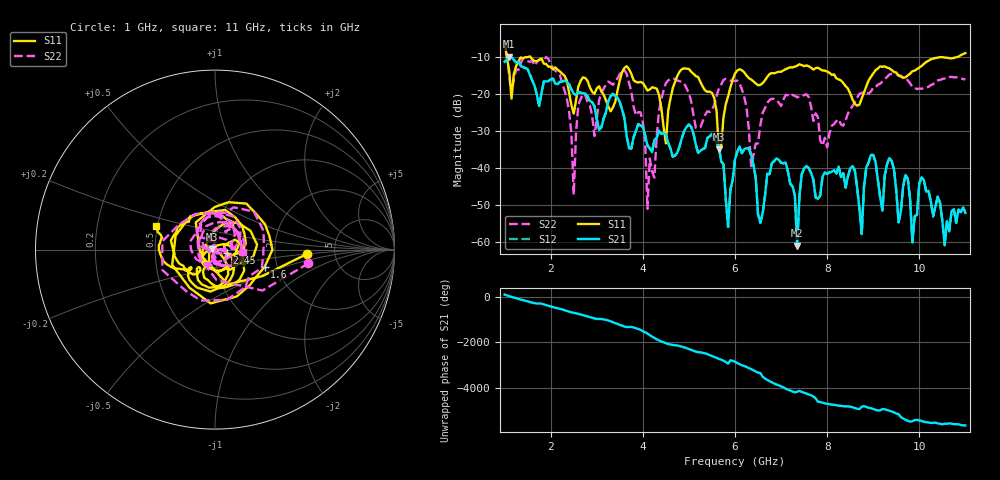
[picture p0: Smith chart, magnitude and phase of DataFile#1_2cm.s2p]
! MS46122B
! 1728301/71650013
! 6/21/2022 4:12:33 PM
! C:\USERS\MILLIWAVE\DESKTOP\XYSTAGE_PYTHON\DATA\IMAI\DATAFILE#1_2CM.S2P
! CHANNEL.1
! TR.MEASUREMENT
! CORRECTED.DATA
# GHZ S RI R 50.0
! FREQ.GHZ  S11RE  S11IM  S21RE  S21IM  S12RE  S12IM  S22RE  S22IM
!; PortSelection: Port_12
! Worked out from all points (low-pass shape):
!   201 points, 1 GHz to 11 GHz, reference 50 ohm
!   highest |S21| = -9.92 dB at 1.1 GHz (marker M1); lowest = -61.0 dB at 7.35 GHz (marker M2)
!   |S21| within 3 dB of the highest: start of sweep to 1.431 GHz
!   lowest |S11| = -35.0 dB at 5.65 GHz (marker M3), VSWR 1.04, Z = 48.2 + j0.0998 ohm
!   |S11| at or under -10 dB: 1.046 GHz to 1.526 GHz (480.1 MHz wide, 37.3 % of centre); 1.556 GHz to 10.84 GHz (9.28 GHz wide, 150 % of centre)
!   |S22| runs from -51.1 to -5.6 dB; largest |S21 - S12| = 0.00082
!   S11 on the Smith chart (normalised r, x): 1 GHz: 3.07, -0.21; 1.6 GHz: 1.71, -0.36; 2.45 GHz: 1.14, -0.05; 11 GHz: 0.49, +0.15
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1  0.5104 -0.0251  0.0015 0.2708  0.00186 0.271  0.5203 -0.0769
1.1  0.0718 -0.1938  0.298 0.1139  0.2977 0.1143  0.00867 -0.1699
1.6  0.2763 -0.0971  -0.00813 0.1501  -0.00844 0.1504  0.2611 -0.1018
2.45  0.0674 -0.0202  0.098 0.0589  0.0978 0.0592  0.0288 -0.00195
2.5  0.0507 0.0188  0.0985 0.0205  0.0984 0.0208  0.00423 -0.000863
2.7  0.166 -0.0156  0.00322 -0.1021  0.00315 -0.1022  0.0983 0.0204
3.6  0.1981 0.1045  -0.0301 0.0361  -0.0302 0.0361  0.1004 0.185
4.1  0.0584 -0.094  -0.0199 -0.00234  -0.0197 -0.00234  -0.00225 0.00166
4.35  -0.0246 -0.094  -0.0115 -0.0296  -0.0113 -0.0296  -0.058 0.0092
5.65  -0.0178 0.00103  -0.0176 0.00771  -0.0176 0.00771  0.00146 0.1179
5.85  0.0595 -0.0704  0.00092 -0.00131  0.000911 -0.00129  0.1378 0.0697
6  0.0513 -0.1808  0.0106 0.00729  0.0106 0.00729  0.1489 -0.0138
6.35  -0.1003 -0.1192  0.00524 0.0141  0.00518 0.014  -0.00147 -0.0104
6.55  -0.0827 -0.1024  -0.000301 -0.0018  -0.000264 -0.00178  0.0378 0.00267
7.1  -0.2012 -0.0758  0.00491 -0.0107  0.00493 -0.0106  -0.0334 -0.0907
7.35  -0.2381 0.0209  -0.000867 0.000192  -0.000855 0.000176  -0.0852 -0.0274
7.7  -0.1454 0.1548  0.00501 -0.0048  0.00507 -0.00478  -0.0231 0.0362
8.75  0.0809 -0.0307  -0.000869 -0.00095  -0.000847 -0.000951  -0.0859 0.0552
9.35  -0.1413 -0.1699  0.00826 0.0107  0.00836 0.0107  -0.0553 0.1738
9.85  -0.1652 -0.1168  0.000681 -0.000702  0.000721 -0.000696  0.0696 0.1025
10.05  -0.2131 -0.1055  0.00578 -0.00469  0.00565 -0.00461  0.0583 0.101
11  -0.3289 0.1328  -0.00147 0.00197  -0.00149 0.00198  0.1552 -0.0138
